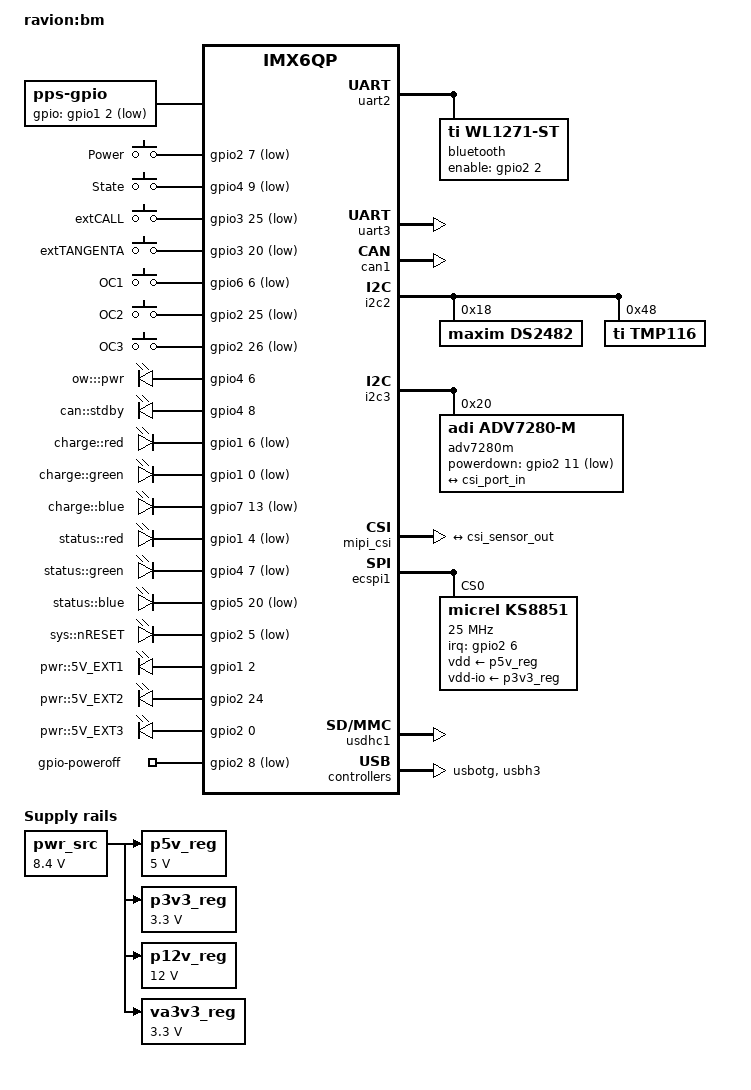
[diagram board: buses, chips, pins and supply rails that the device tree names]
/*
 * Copyright 2018 Radioavionica Corp.
 *
 * Author: Alex A. Mihaylov <minimumlaw@rambler.ru>
 *
 * This program is free software; you can redistribute it and/or modify
 * it under the terms of the GNU General Public License version 2 as
 * published by the Free Software Foundation.
 *
 */
/dts-v1/;
#include "imx6qp.dtsi"
#include "imx6qdl-ravion-v2.dtsi"

/ {
	model = "ravion:bm";
	compatible = "ravion,imx6qp", "fsl,imx6qp";

	/*
	 * Device specific regulators
	 */
	pwr_src: regulator_power {
		compatible = "regulator-fixed";
		regulator-name = "BATT_IN";
		/* FixMe: 5...8.4V input voltage */
		regulator-min-microvolt = <8400000>;
		regulator-max-microvolt = <8400000>;
		regulator-boot-on;
		regulator-always-on;
	};

	p5v_reg: regulator_5v0 {
		compatible = "regulator-fixed";
		regulator-name = "P5V";
		regulator-min-microvolt = <5000000>;
		regulator-max-microvolt = <5000000>;
		vin-supply = <&pwr_src>;
		regulator-boot-on;
		regulator-always-on;
	};

	p3v3_reg: regulator_3v3 {
		compatible = "regulator-fixed";
		regulator-name = "P3V3";
		regulator-min-microvolt = <3300000>;
		regulator-max-microvolt = <3300000>;
		vin-supply = <&pwr_src>;
		regulator-boot-on;
		regulator-always-on;
	};

	p12v_reg: regulator_12v {
		compatible = "regulator-fixed";
		regulator-name = "P12V";
		regulator-min-microvolt = <12000000>;
		regulator-max-microvolt = <12000000>;
		vin-supply = <&pwr_src>;
		regulator-boot-on;
		regulator-always-on; /* XP61: enable/disable reg. */
	};

	va3v3_reg: regulator_3v3va {
		compatible = "regulator-fixed";
		regulator-name = "VA3V3";
		regulator-min-microvolt = <3300000>;
		regulator-max-microvolt = <3300000>;
		vin-supply = <&pwr_src>;
		regulator-boot-on;
		regulator-always-on;
	};

	pps {
		compatible = "pps-gpio";
		gpios	= <&gpio1  2 GPIO_ACTIVE_LOW>;		/* soDimm 055 */
	};

	gpio-keys {
		compatible = "gpio-keys";

		power {
			label = "Power";
			gpios = <&gpio2 7 GPIO_ACTIVE_LOW>;	/* soDimm 125 */
			linux,code = <KEY_POWER>;
			debounce-interval = <100>;
			wakeup-source;
		};

		state {
			label = "State";
			gpios = <&gpio4 9 GPIO_ACTIVE_LOW>;	/* soDimm 152 */
			linux,code = <KEY_F1>;
			debounce-interval = <100>;
			wakeup-source;
		};

		ext_call {
			label = "extCALL";
			gpios = <&gpio3 25 GPIO_ACTIVE_LOW>;	/* soDimm 029 */
			linux,code = <KEY_MACRO9>;
			debounce-interval = <100>;
			wakeup-source;
		};

		ext_tangenta {
			label = "extTANGENTA";
			gpios = <&gpio3 20 GPIO_ACTIVE_LOW>;	/* soDimm 027 */
			linux,code = <KEY_F2>;
			debounce-interval = <100>;
			wakeup-source;
		};

		oc1 {
			label = "OC1";
			gpios = <&gpio6 6 GPIO_ACTIVE_LOW>;	/* soDimm 085 */
			linux,code = <KEY_MACRO1>;
			wakeup-source;
		};

		oc2 {
			label = "OC2";
			gpios = <&gpio2 25 GPIO_ACTIVE_LOW>;	/* soDimm 110 */
			linux,code = <KEY_MACRO2>;
			wakeup-source;
		};

		oc3 {
			label = "OC3";
			gpios = <&gpio2 26 GPIO_ACTIVE_LOW>;	/* soDimm 112 */
			linux,code = <KEY_MACRO3>;
			wakeup-source;
		};
	};

	gpio-leds {
		pinctrl-names = "default";
		pinctrl-0 = <&pinctrl_uart1gpio>;
		compatible = "gpio-leds";

		pwr_ow {
			label = "ow:::pwr";
			gpios = <&gpio4 6 GPIO_ACTIVE_HIGH>;	/* soDimm 124 */
			default-state = "on";
		};

		stby_can {
			label = "can::stdby";
			gpios = <&gpio4  8 GPIO_ACTIVE_HIGH>;	/* soDimm 150 */
			default-state = "off";
		};

		charge_red {
			label = "charge::red";
			gpios = <&gpio1  6 GPIO_ACTIVE_LOW>;	/* soDimm 180 */
			default-state = "off";
			};

		charge_green {
			label = "charge::green";
			gpios = <&gpio1  0 GPIO_ACTIVE_LOW>;	/* soDimm184 */
			default-state = "off";
		};

		charge_blue {
			label = "charge::blue";
			gpios = <&gpio7 13 GPIO_ACTIVE_LOW>;	/* soDimm186 */
			default-state = "off";
		};

		status_red {
			label = "status::red";
			gpios = <&gpio1  4 GPIO_ACTIVE_LOW>;	/* soDimm188 */
			default-state = "off";
		};

		status_green {
			label = "status::green";
			gpios = <&gpio4  7 GPIO_ACTIVE_LOW>;	/* soDimm190 */
			default-state = "off";
		};

		status_blue {
			label = "status::blue";
			linux,default-trigger = "heartbeat";
			gpios = <&gpio5 20 GPIO_ACTIVE_LOW>;	/* soDimm192 */
			default-state = "on";
		};

		sys_reset {
			label = "sys::nRESET";
			gpios = <&gpio2 5 GPIO_ACTIVE_LOW>;	/* soDimm 121 */
			default-state = "off";
		};

		pwr5vext1 {
			label = "pwr::5V_EXT1";
			gpios = <&gpio1 2 GPIO_ACTIVE_HIGH>;	/* soDimm059 */
			default-state = "on";
		};

		pwr5vext2 {
			label = "pwr::5V_EXT2";
			gpios = <&gpio2 24 GPIO_ACTIVE_HIGH>;	/* soDimm106 */
			default-state = "on";
		};

		pwr5vext3 {
			label = "pwr::5V_EXT3";
			gpios = <&gpio2 0 GPIO_ACTIVE_HIGH>;	/* soDimm111 */
			default-state = "on";
		};
	};

	gpio-poweroff {
		compatible = "gpio-poweroff";
		gpios = <&gpio2 8 GPIO_ACTIVE_LOW>;		/* soDimm 127 */
	};
};

/*
 * Sound subsystem
 */
&ssi2	{	status = "disabled";	};

/*
 * Video subsystems
 */
/* HDMI */
&hdmi {		status = "okay";	};
/* TFT */
&tft_display_bus { status = "disabled"; };
/* LVDS */
&ldb {		status = "disabled";	};

/*
 * Serial ports
 */
/* &uart1 {	status = "okay";	}; => Allways enabled */
&uart2 {
	status = "okay";

	bluetooth { /* DD19: CC2564CRVM */
		enable-gpios = <&gpio2 2 GPIO_ACTIVE_HIGH>;	/* soDimm 115 */
		compatible = "ti,wl1271-st";
		clocks = <&clk_32k_bt 0>;
		clock-names = "ext_clock";
		max-speed = <3686400>;
		current-speed = <115200>;
		status = "okay";

		clk_32k_bt: bt_clk {
			compatible = "fixed-clock";
			#clock-cells = <0>;
			clock-frequency = <32768>;
			clock-accuracy = <100>;
		};
	};
};
&uart3 {	status = "okay";	};

/*
 * Controller Area Network (CAN) Bus
 */
&can1 {		status = "okay";	};

/*
 * I2C Busses
 */
&i2c2 {	/* Compatible I2C: soDimm 194, 196 */
	status = "okay";

	ds2482@18 { /* DS2484: I2C to OneWire Converter */
		status = "okay";
		compatible = "maxim,ds2482";
		reg = <0x18>;
	};

	tmp116@48 { /* TMP116: I2C IIO Temperature Sensor with alert */
		status = "okay";
		compatible = "ti,tmp116";
		reg = <0x48>;
	};
};

/* Extended I2C: soDimm 128, 130 */
&i2c3 {
	status = "okay";

	adv7280m@20 { /* ADV7280BCPZ - Composite video capture with MIPI interface */
		compatible = "adi,adv7280-m";
		powerdown-gpios = <&gpio2 11 GPIO_ACTIVE_LOW>;	/* soDimm 133 */
		reg = <0x20>;

		port {
			csi_sensor_out: endpoint {
				remote-endpoint = <&csi_port_in>;
				clock-lanes = <0>;
				data-lanes = <1>;
			};
		};
	};
};

&mipi_csi {
	status = "okay";

	port@0 {
		reg = <0>;
		csi_port_in: endpoint {
			remote-endpoint = <&csi_sensor_out>;
			clock-lanes = <0>;
			data-lanes = <1>;
		};
	};
};

/*
 * SPI Bus
 */
&ecspi1 {
	/delete-property/dmas;
	/delete-property/dma-names;
	status = "okay";

	ks8851@0 {
		reg = <0>;
		compatible = "micrel,ks8851";
		/* FixMe: PME(NU) - soDimm023 (unused) */
		interrupts-extended = <&gpio2 6 IRQ_TYPE_LEVEL_LOW>;	/* soDimm123 */
		vdd-supply = <&p5v_reg>;
		vdd-io-supply = <&p3v3_reg>;
		spi-max-frequency = <25000000>; /* 25MHz, max 40MHz */
       };
};

/*
 * SD/MMC and eMMC controllers
 */
&usdhc1 {	status = "okay";	}; /* compatible */
&usdhc2 {	status = "disabled";	}; /* externed */
/* &usdhc3 {	status = "okay";	}; => eMMC allways enabled */

/*
 * Ethernet controller
 */
/* &fec {	status = "okay";	}; => eth0 allways enabled */

/*
 * Audio (digital part)
 */
/* &audmux {	status = "okay";	}; => Allways enabled */
/* &ssi1 {	status = "okay";	}; => Allways enabled */

/*
 * High-speed serial bus
 */
&pcie {		status = "disabled";	};
&sata {		status = "disabled";	};
&hdmi {		status = "disabled";	};

/* &usbh1 {	status = "okay";	}; HOST => Allways enabled */

&usbotg	{ /* OTG */
	power-active-high;
	status = "okay";
};

&usbh3 { /* HSIC */
	status = "okay";
	#address-cells = <1>;
	#size-cells = <0>;
};

/*
 * PWMs
 */
&pwm3	{	status = "disabled";	};
&pwm4	{	status = "disabled";	};

